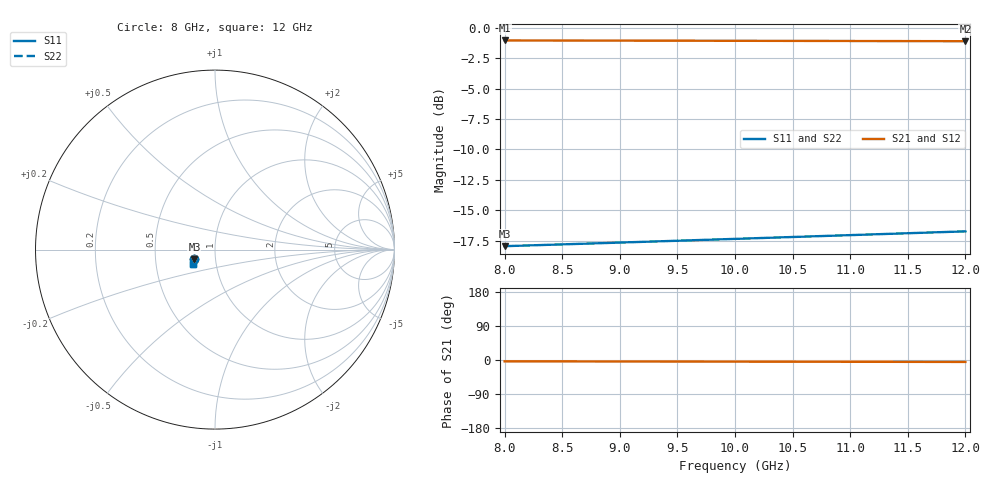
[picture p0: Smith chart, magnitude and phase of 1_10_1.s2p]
! Created Mon Oct 19 10:31:20 2020
# ghz S db R 50
! 2 Port Network Data from SP1.SP block
! freq  dbS11  angS11  dbS21  angS21  dbS12  angS12  dbS22  angS22
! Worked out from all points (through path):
!   9 points, 8 GHz to 12 GHz, reference 50 ohm
!   highest |S21| = -1.04 dB at 8 GHz (marker M1); lowest = -1.1 dB at 12 GHz (marker M2)
!   lowest |S11| = -17.9 dB at 8 GHz (marker M3), VSWR 1.29, Z = 39.5 - j4.3 ohm
!   |S11| at or under -10 dB: start of sweep to end of sweep
!   |S22| runs from -17.9 to -16.7 dB; largest |S21 - S12| = 0
8  -17.95 -155.0  -1.04 -3.5  -1.04 -3.5  -17.95 -155.0
8.5  -17.80 -153.9  -1.05 -3.7  -1.05 -3.7  -17.80 -153.9
9  -17.65 -152.8  -1.06 -3.9  -1.06 -3.9  -17.65 -152.8
9.5  -17.50 -151.8  -1.06 -4.1  -1.06 -4.1  -17.50 -151.8
10  -17.35 -150.8  -1.07 -4.3  -1.07 -4.3  -17.35 -150.8
10.5  -17.19 -149.9  -1.08 -4.5  -1.08 -4.5  -17.19 -149.9
11  -17.04 -149.1  -1.09 -4.7  -1.09 -4.7  -17.04 -149.1
11.5  -16.88 -148.3  -1.10 -4.9  -1.10 -4.9  -16.88 -148.3
12  -16.73 -147.5  -1.10 -5.1  -1.10 -5.1  -16.73 -147.5
